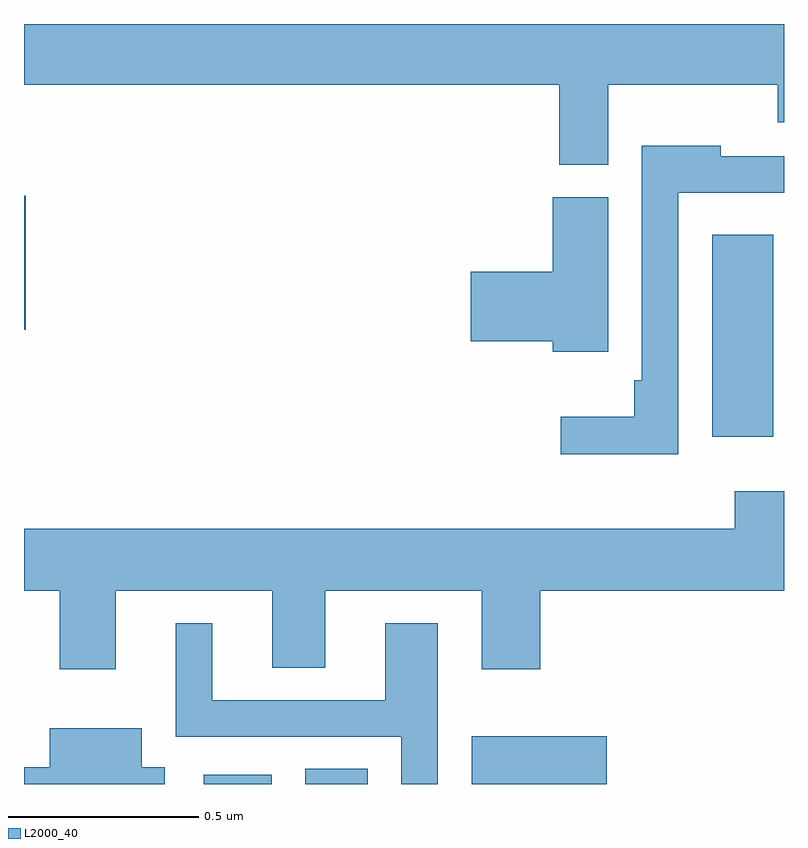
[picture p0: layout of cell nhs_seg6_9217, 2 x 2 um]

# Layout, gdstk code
import gdstk
lib = gdstk.Library(unit=1e-6, precision=1e-09)
def R(c, l, rs):  # rectangles x0, y0, x1, y1
    for r in rs: c.add(gdstk.rectangle(r[:2], r[2:], *l))
def P(c, l, *ps):  # polygons
    for p in ps: c.add(gdstk.Polygon(p, *l))
L2000_40 = (2000, 40)

nhs_seg6_9217 = lib.new_cell('nhs_seg6_9217')
R(nhs_seg6_9217, L2000_40, [(231.473,941.5,231.652,941.524), (231.74,941.5,231.904,941.54), (232.178,941.5,232.534,941.626), (232.811,942.414,232.972,942.946), (231,942.695,231.005,943.048)])
P(nhs_seg6_9217, L2000_40, [(232.537,943.34),(232.984,943.34),(232.984,943.241),(233,943.241),(233,943.5),(231,943.5),(231,943.34),(232.409,943.34),(232.409,943.129),(232.537,943.129)],
  [(232.722,943.056),(233,943.056),(233,943.152),(232.833,943.152),(232.833,943.18),(232.626,943.18),(232.626,942.562),(232.606,942.562),(232.606,942.466),(232.413,942.466),(232.413,942.368),(232.722,942.368)],
  [(232.537,943.044),(232.391,943.044),(232.391,942.848),(232.176,942.848),(232.176,942.665),(232.391,942.665),(232.391,942.638),(232.537,942.638)],
  [(231.241,942.008),(231.653,942.008),(231.653,941.806),(231.793,941.806),(231.793,942.008),(232.205,942.008),(232.205,941.802),(232.358,941.802),(232.358,942.008),(233,942.008),(233,942.271),(232.871,942.271),(232.871,942.172),(231,942.172),(231,942.008),(231.094,942.008),(231.094,941.802),(231.241,941.802)],
  [(232.089,941.923),(231.95,941.923),(231.95,941.721),(231.496,941.721),(231.496,941.923),(231.399,941.923),(231.399,941.625),(231.993,941.625),(231.993,941.5),(232.089,941.5)],
  [(231.37,941.544),(231.31,941.544),(231.31,941.647),(231.068,941.647),(231.068,941.544),(231,941.544),(231,941.5),(231.37,941.5)])

lib.write_gds('nhs_seg6_9217.gds')
